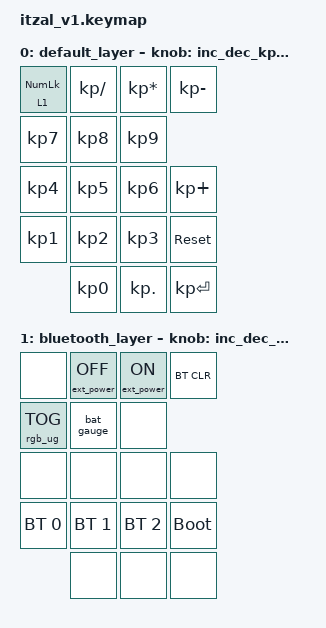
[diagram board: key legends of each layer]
#include <behaviors.dtsi>
#include <dt-bindings/zmk/keys.h>
#include <dt-bindings/zmk/bt.h>
#include <dt-bindings/zmk/outputs.h>
#include <dt-bindings/zmk/ext_power.h>
#include <dt-bindings/zmk/rgb.h>




// ------------------default-----------------
// | LAYERSFT |    /    |    *    |    -    |
// |    7     |    8    |    9    |    +    |
// |    4     |    5    |    6    |         |
// |    1     |    2    |    3    |  ENTER  |
// |          |    0    |         |    .    |


// ----------------------------functions-------------------------------
// |  LAYERSFT  |    NOP             |    NOP    |   Bluetooth PREV   |
// |    NOP     |    LAYERSFT        |    NOP    |   Bluetooth Next   |
// |    NOP     |    OUT_TOG         |    NOP    |                    |
// |Bluetooth 0 |    Bluetooth 1     |Bluetooth 2|   reset            |
// |            |    BluetoothCLR    |           |   NOP              |


// --------------------action layer------------------
// |     NOP   |     NOP   |     NOP   |     NOP    |
// |     NOP   |     NOP   |     NOP   |            |
// |Arrow Left |     NOP   |Arrow Right|     NOP    |
// |     NOP   |     NOP   |     NOP   |     NOP    |
// |           |     NOP   |           | Bootloader |

&led_strip {
    chain-length = <5>;
};

&soft_off {
    hold-time-ms= <5000>; //Only turn off if the key is held for 5 seconds or longer.
};

/ {
    keymap {
        compatible = "zmk,keymap";

        default_layer {
            bindings = <
    &lt 1 KP_NLCK   &kp KP_DIVIDE  &kp KP_MULTIPLY   &kp KP_MINUS
    &kp KP_N7     &kp KP_N8      &kp KP_N9
    &kp KP_N4     &kp KP_N5      &kp KP_N6         &kp KP_PLUS
    &kp KP_N1     &kp KP_N2      &kp KP_N3         &sys_reset
                  &kp KP_N0      &kp KP_DOT        &kp KP_ENTER
            >;
            sensor-bindings = <&inc_dec_kp &none &none>;
        };
        bluetooth_layer {
            bindings = <
    &none           &ext_power EP_OFF &ext_power EP_ON  &bt BT_CLR
    &rgb_ug RGB_TOG &bat_gauge        &none
    &none           &none             &none             &none
    &bt BT_SEL 0    &bt BT_SEL 1      &bt BT_SEL 2      &bootloader
                    &none             &none             &none
            >;
            sensor-bindings = <&inc_dec_kp &trans &trans>;
        };
    };
};
